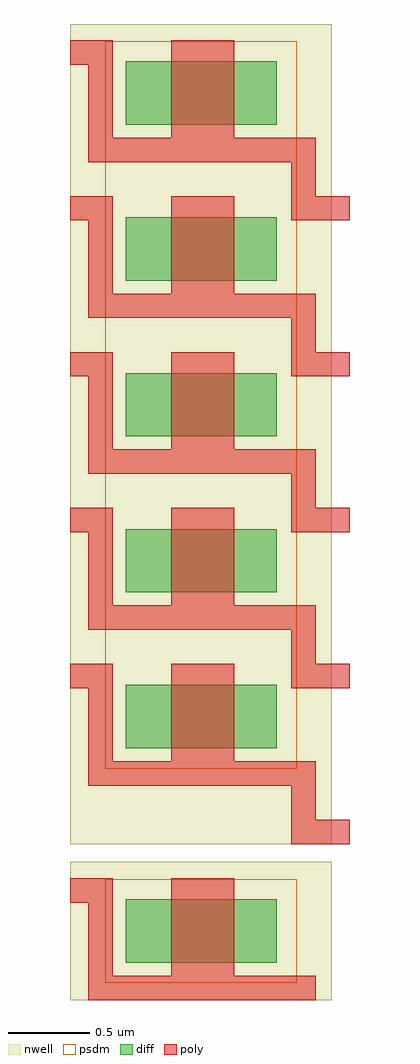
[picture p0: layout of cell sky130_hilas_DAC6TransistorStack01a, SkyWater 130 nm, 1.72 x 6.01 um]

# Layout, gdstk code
import gdstk
lib = gdstk.Library(unit=1e-6, precision=1e-09)
def R(c, l, rs):  # rectangles x0, y0, x1, y1
    for r in rs: c.add(gdstk.rectangle(r[:2], r[2:], *l))
def A(c, l, x, y, w, h, nx, ny, dx, dy):  # array of equal rectangles
    R(c, l, [(x+i*dx, y+j*dy, x+i*dx+w, y+j*dy+h) for i in range(nx) for j in range(ny)])
nwell = (64, 20)
diff = (65, 20)
poly = (66, 20)
psdm = (94, 20)

sky130_hilas_pfetdevice0 = lib.new_cell('sky130_hilas_pFETdevice01a')
R(sky130_hilas_pfetdevice0, nwell, [(0,0,1.61,0.85)])
R(sky130_hilas_pfetdevice0, diff, [(0.34,0.23,1.27,0.62)])
R(sky130_hilas_pfetdevice0, poly, [(0.11,0,1.51,0.15), (0.11,0.15,0.26,0.6), (0.62,0.15,1.01,0.75), (0,0.6,0.26,0.75)])
R(sky130_hilas_pfetdevice0, psdm, [(0.215,0.105,1.395,0.745)])

c_sky130_hilas_pfetdevice0 = lib.new_cell('sky130_hilas_pFETdevice01aa')
R(c_sky130_hilas_pfetdevice0, nwell, [(0,0,1.61,1.21)])
R(c_sky130_hilas_pfetdevice0, diff, [(0.34,0.59,1.27,0.98)])
R(c_sky130_hilas_pfetdevice0, poly, [(1.36,0,1.72,0.15), (1.36,0.15,1.51,0.36), (0.11,0.36,1.51,0.51), (0.11,0.51,0.26,0.96), (0.62,0.51,1.01,1.11), (0,0.96,0.26,1.11)])
R(c_sky130_hilas_pfetdevice0, psdm, [(0.215,0.465,1.395,1.105)])

sky130_hilas_dac6transis = lib.new_cell('sky130_hilas_DAC6TransistorStack01a')
A(sky130_hilas_dac6transis, psdm, 0.395, 2.285, 1.18, 0.32, 1, 4, 0, 0.96)
sky130_hilas_dac6transis.add(gdstk.Reference(sky130_hilas_pfetdevice0, (0.18,0.22)))
sky130_hilas_dac6transis.add(gdstk.Reference(c_sky130_hilas_pfetdevice0, (0.18,5.02)))
sky130_hilas_dac6transis.add(gdstk.Reference(c_sky130_hilas_pfetdevice0, (0.18,4.06)))
sky130_hilas_dac6transis.add(gdstk.Reference(c_sky130_hilas_pfetdevice0, (0.18,3.1)))
sky130_hilas_dac6transis.add(gdstk.Reference(c_sky130_hilas_pfetdevice0, (0.18,2.14)))
sky130_hilas_dac6transis.add(gdstk.Reference(c_sky130_hilas_pfetdevice0, (0.18,1.18)))

lib.write_gds('sky130_hilas_DAC6TransistorStack01a.gds')
